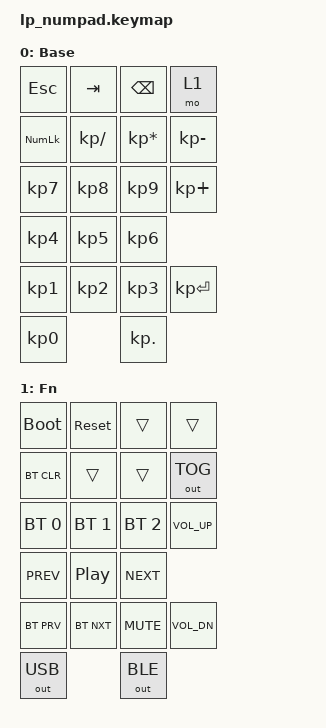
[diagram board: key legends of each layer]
#include <behaviors.dtsi>
#include <dt-bindings/zmk/keys.h>
#include <dt-bindings/zmk/bt.h>
#include <dt-bindings/zmk/outputs.h>

/ {
    keymap {
        compatible = "zmk,keymap";

        base {
            display-name = "Base";
            bindings = <
    &kp ESC        &kp TAB         &kp BSPC          &mo 1
    &kp KP_NUMLOCK &kp KP_DIVIDE   &kp KP_MULTIPLY   &kp KP_MINUS
    &kp KP_N7      &kp KP_N8       &kp KP_N9         &kp KP_PLUS
    &kp KP_N4      &kp KP_N5       &kp KP_N6
    &kp KP_N1      &kp KP_N2       &kp KP_N3         &kp KP_ENTER
    &kp KP_N0                      &kp KP_DOT
            >;
        };

        /* hold the top-right key */
        fn {
            display-name = "Fn";
            bindings = <
    &bootloader    &sys_reset      &trans            &trans
    &bt BT_CLR     &trans          &trans            &out OUT_TOG
    &bt BT_SEL 0   &bt BT_SEL 1    &bt BT_SEL 2      &kp C_VOL_UP
    &kp C_PREV     &kp C_PP        &kp C_NEXT
    &bt BT_PRV     &bt BT_NXT      &kp C_MUTE        &kp C_VOL_DN
    &out OUT_USB                   &out OUT_BLE
            >;
        };
    };
};
